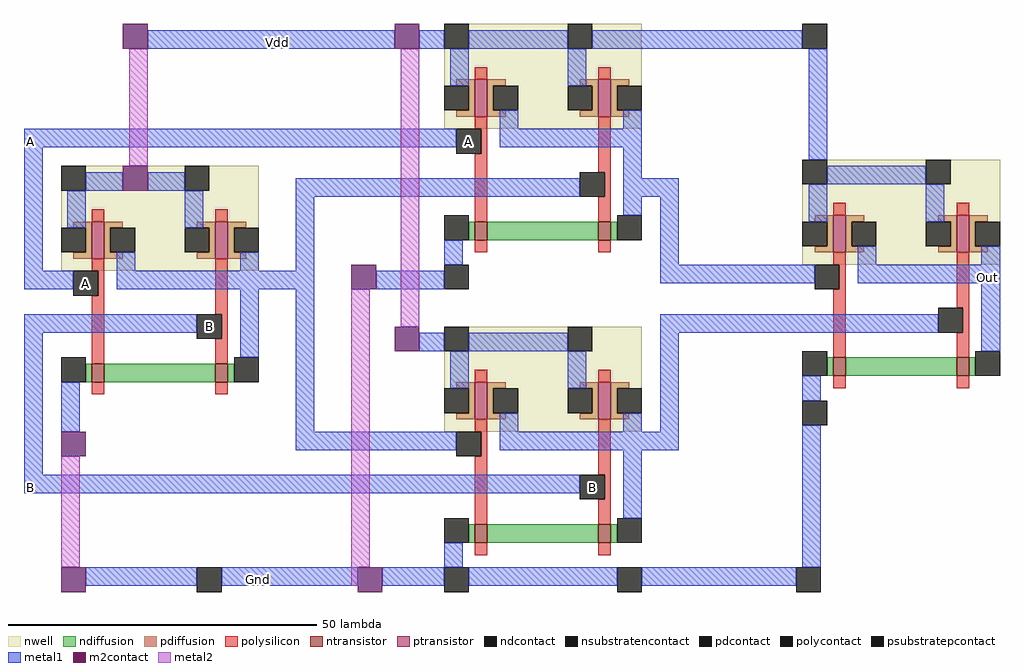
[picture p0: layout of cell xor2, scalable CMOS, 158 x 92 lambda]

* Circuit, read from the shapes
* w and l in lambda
.subckt xor2 A B Gnd Out Vdd
M1 n1 A Gnd Gnd nfet w=3 l=2
M2 n2 B n1 Gnd nfet w=3 l=2
M3 n3 n2 Gnd Gnd nfet w=3 l=2
M4 n4 A Gnd Gnd nfet w=3 l=2
M5 n5 B n3 Gnd nfet w=3 l=2
M6 n6 n2 n4 Gnd nfet w=3 l=2
M7 n7 n6 Gnd Gnd nfet w=3 l=2
M8 Out n5 n7 Gnd nfet w=3 l=2
M9 n2 A Vdd Vdd pfet w=6 l=2
M10 n2 B Vdd Vdd pfet w=6 l=2
M11 n5 n2 Vdd Vdd pfet w=6 l=2
M12 n6 A Vdd Vdd pfet w=6 l=2
M13 n5 B Vdd Vdd pfet w=6 l=2
M14 n6 n2 Vdd Vdd pfet w=6 l=2
M15 Out n6 Vdd Vdd pfet w=6 l=2
M16 Out n5 Vdd Vdd pfet w=6 l=2
.ends

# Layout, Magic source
magic
tech scmos
<< nwell >>
rect 62 49 94 66
rect 0 26 32 43
rect 120 27 152 44
rect 62 0 94 17
<< polysilicon >>
rect 67 57 69 59
rect 87 57 89 59
rect 67 49 69 51
rect 68 45 69 49
rect 5 34 7 36
rect 25 34 27 36
rect 67 34 69 45
rect 87 42 89 51
rect 88 38 89 42
rect 87 34 89 38
rect 125 35 127 37
rect 145 35 147 37
rect 67 29 69 31
rect 87 29 89 31
rect 5 26 7 28
rect 6 22 7 26
rect 5 11 7 22
rect 25 19 27 28
rect 125 27 127 29
rect 126 23 127 27
rect 26 15 27 19
rect 25 11 27 15
rect 67 8 69 10
rect 87 8 89 10
rect 125 12 127 23
rect 145 20 147 29
rect 146 16 147 20
rect 145 12 147 16
rect 5 6 7 8
rect 25 6 27 8
rect 125 7 127 9
rect 145 7 147 9
rect 67 0 69 2
rect 68 -4 69 0
rect 67 -15 69 -4
rect 87 -7 89 2
rect 88 -11 89 -7
rect 87 -15 89 -11
rect 67 -20 69 -18
rect 87 -20 89 -18
<< ndiffusion >>
rect 66 31 67 34
rect 69 31 87 34
rect 89 31 90 34
rect 4 8 5 11
rect 7 8 25 11
rect 27 8 28 11
rect 124 9 125 12
rect 127 9 145 12
rect 147 9 148 12
rect 66 -18 67 -15
rect 69 -18 87 -15
rect 89 -18 90 -15
<< pdiffusion >>
rect 64 56 67 57
rect 66 52 67 56
rect 64 51 67 52
rect 69 56 72 57
rect 84 56 87 57
rect 69 52 70 56
rect 86 52 87 56
rect 69 51 72 52
rect 84 51 87 52
rect 89 56 92 57
rect 89 52 90 56
rect 89 51 92 52
rect 2 33 5 34
rect 4 29 5 33
rect 2 28 5 29
rect 7 33 10 34
rect 22 33 25 34
rect 7 29 8 33
rect 24 29 25 33
rect 7 28 10 29
rect 22 28 25 29
rect 27 33 30 34
rect 27 29 28 33
rect 122 34 125 35
rect 124 30 125 34
rect 122 29 125 30
rect 127 34 130 35
rect 142 34 145 35
rect 127 30 128 34
rect 144 30 145 34
rect 127 29 130 30
rect 142 29 145 30
rect 147 34 150 35
rect 147 30 148 34
rect 147 29 150 30
rect 27 28 30 29
rect 64 7 67 8
rect 66 3 67 7
rect 64 2 67 3
rect 69 7 72 8
rect 84 7 87 8
rect 69 3 70 7
rect 86 3 87 7
rect 69 2 72 3
rect 84 2 87 3
rect 89 7 92 8
rect 89 3 90 7
rect 89 2 92 3
<< metal1 >>
rect 14 62 54 65
rect 58 62 62 65
rect 66 62 82 65
rect 86 62 120 65
rect 63 56 66 62
rect 82 56 85 62
rect 71 49 74 52
rect 91 49 94 52
rect -6 46 64 49
rect -6 26 -3 46
rect 71 46 94 49
rect 4 39 10 42
rect 14 39 20 42
rect 1 33 4 39
rect 20 33 23 39
rect 38 38 84 41
rect 91 41 94 46
rect 121 44 124 62
rect 91 38 100 41
rect 124 40 140 43
rect 9 26 12 29
rect 29 26 32 29
rect 38 26 41 38
rect 91 35 94 38
rect 62 27 65 31
rect 97 27 100 38
rect 121 34 124 40
rect 140 34 143 40
rect 129 27 132 30
rect 149 27 152 30
rect -6 23 2 26
rect 9 23 41 26
rect 51 23 62 26
rect 97 24 122 27
rect 129 24 152 27
rect -6 16 22 19
rect -6 -7 -3 16
rect 29 12 32 23
rect 0 0 3 8
rect 38 0 41 23
rect 58 13 62 16
rect 66 13 82 16
rect 97 16 142 19
rect 63 7 66 13
rect 82 7 85 13
rect 71 0 74 3
rect 91 0 94 3
rect 97 0 100 16
rect 149 13 152 24
rect 38 -3 64 0
rect 71 -3 100 0
rect 120 5 123 9
rect -6 -10 84 -7
rect 91 -14 94 -3
rect 62 -22 65 -18
rect 120 -22 123 1
rect 4 -25 22 -22
rect 26 -25 48 -22
rect 52 -25 62 -22
rect 66 -25 90 -22
rect 94 -25 119 -22
<< metal2 >>
rect 11 43 14 62
rect 0 -22 3 -4
rect 47 -22 50 23
rect 55 17 58 62
rect 47 -25 48 -22
<< ntransistor >>
rect 67 31 69 34
rect 87 31 89 34
rect 5 8 7 11
rect 25 8 27 11
rect 125 9 127 12
rect 145 9 147 12
rect 67 -18 69 -15
rect 87 -18 89 -15
<< ptransistor >>
rect 67 51 69 57
rect 87 51 89 57
rect 5 28 7 34
rect 25 28 27 34
rect 125 29 127 35
rect 145 29 147 35
rect 67 2 69 8
rect 87 2 89 8
<< polycontact >>
rect 64 45 68 49
rect 84 38 88 42
rect 2 22 6 26
rect 122 23 126 27
rect 22 15 26 19
rect 142 16 146 20
rect 64 -4 68 0
rect 84 -11 88 -7
<< ndcontact >>
rect 62 31 66 35
rect 90 31 94 35
rect 0 8 4 12
rect 28 8 32 12
rect 120 9 124 13
rect 148 9 152 13
rect 62 -18 66 -14
rect 90 -18 94 -14
<< pdcontact >>
rect 62 52 66 56
rect 70 52 74 56
rect 82 52 86 56
rect 90 52 94 56
rect 0 29 4 33
rect 8 29 12 33
rect 20 29 24 33
rect 28 29 32 33
rect 120 30 124 34
rect 128 30 132 34
rect 140 30 144 34
rect 148 30 152 34
rect 62 3 66 7
rect 70 3 74 7
rect 82 3 86 7
rect 90 3 94 7
<< m2contact >>
rect 10 62 14 66
rect 54 62 58 66
rect 10 39 14 43
rect 47 23 51 27
rect 54 13 58 17
rect 0 -4 4 0
rect 0 -26 4 -22
rect 48 -26 52 -22
<< psubstratepcontact >>
rect 62 23 66 27
rect 120 1 124 5
rect 22 -26 26 -22
rect 62 -26 66 -22
rect 90 -26 94 -22
rect 119 -26 123 -22
<< nsubstratencontact >>
rect 62 62 66 66
rect 82 62 86 66
rect 120 62 124 66
rect 0 39 4 43
rect 20 39 24 43
rect 120 40 124 44
rect 140 40 144 44
rect 62 13 66 17
rect 82 13 86 17
<< labels >>
rlabel metal1 -5 47 -5 47 1 A
rlabel polycontact 66 47 66 47 1 A
rlabel polycontact 4 24 4 24 1 A
rlabel polycontact 86 -9 86 -9 1 B
rlabel polycontact 24 17 24 17 1 B
rlabel metal1 -5 -9 -5 -9 1 B
rlabel metal1 150 25 150 25 1 Out
rlabel metal1 32 -24 32 -24 1 Gnd
rlabel metal1 35 63 35 63 1 Vdd
<< end >>
